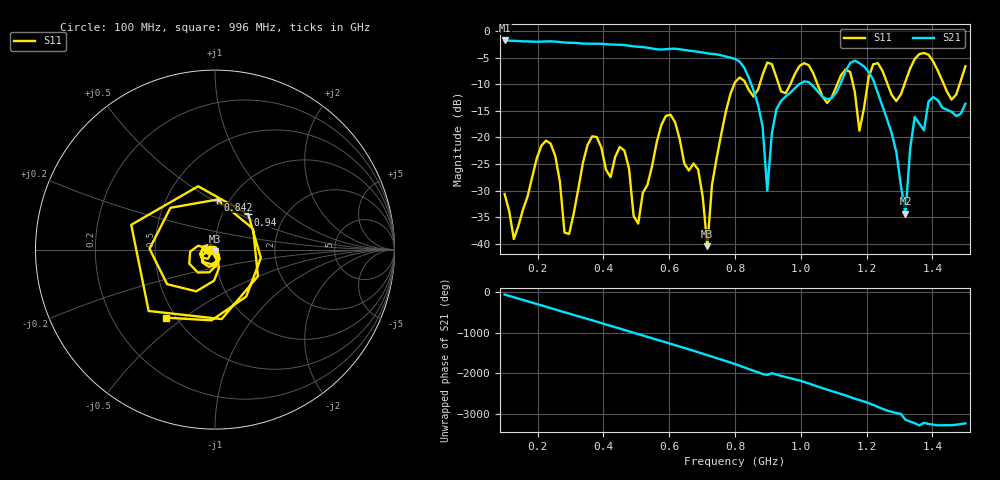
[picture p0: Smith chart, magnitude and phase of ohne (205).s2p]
! NanoVNA-App
! Date: 2025-09-25 14:22:23
! Start: 100MHz Stop: 1,5GHz Points: 101
! S-Parameter data: F S11 S21 S12 S22
# Hz S RI R 50
!  Frequency  S11_Real  S11_Imag  S21_Real  S21_Imag  S12_Real  S12_Imag  S22_Real  S22_Imag
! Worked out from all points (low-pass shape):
!   101 points, 100 MHz to 1.5 GHz, reference 50 ohm
!   highest |S21| = -1.79 dB at 100 MHz (marker M1); lowest = -34.3 dB at 1.318 GHz (marker M2)
!   |S21| within 3 dB of the highest: start of sweep to 771.2 MHz
!   lowest |S11| = -40.4 dB at 716 MHz (marker M3), VSWR 1.02, Z = 49.9 - j0.938 ohm
!   |S11| at or under -10 dB: start of sweep to 797.8 MHz; 833.2 MHz to 875 MHz (41.79 MHz wide, 4.89 % of centre); 1.051 GHz to 1.111 GHz (60.31 MHz wide, 5.58 % of centre) (the widest 3 of 7)
!   S12 and S22 are empty: the file has one direction only
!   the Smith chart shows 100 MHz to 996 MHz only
!   S11 on the Smith chart (normalised r, x): 100 MHz: 0.94, -0.01; 842 MHz: 0.88, +0.53; 940 MHz: 1.32, +0.56; 996 MHz: 0.44, -0.43
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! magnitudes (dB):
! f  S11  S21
! 100 MHz  -30.6  -1.8
! 128 MHz  -39.1  -1.9
! 226 MHz  -20.6  -2.0
! 296 MHz  -38.2  -2.2
! 338 MHz  -24.7  -2.4
! 464 MHz  -22.5  -2.7
! 506 MHz  -36.2  -3.0
! 576 MHz  -17.7  -3.5
! 688 MHz  -26.0  -3.9
! 716 MHz  -40.4  -4.2
! 800 MHz  -9.7  -5.3
! 842 MHz  -11.1  -8.8
! 898 MHz  -6.0  -30.0
! 940 MHz  -11.4  -13.1
! 996 MHz  -6.6  -10.0
! 1.038 GHz  -8.0  -10.4
! 1.178 GHz  -18.7  -6.1
! 1.22 GHz  -6.3  -9.2
! 1.276 GHz  -12.0  -19.2
! 1.318 GHz  -9.5  -34.3
! 1.346 GHz  -5.3  -16.2
! 1.5 GHz  -6.6  -13.7
